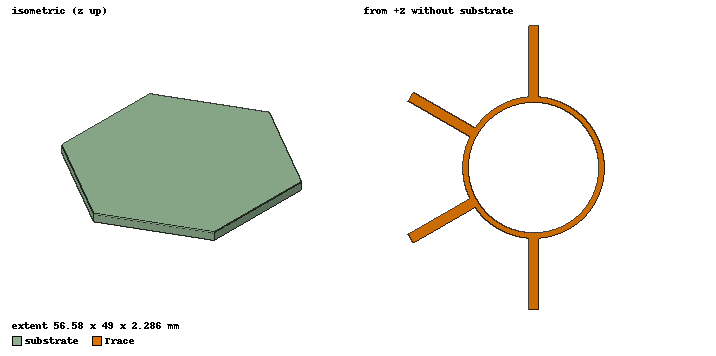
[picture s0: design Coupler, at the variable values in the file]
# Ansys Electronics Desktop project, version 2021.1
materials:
  vacuum: permittivity=1
  My_sub: permittivity=2.33 dielectric_loss_tangent=0.000429

design Coupler (HFSS, DrivenTerminal, model units mm)
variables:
  length = 24.5mm
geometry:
  substrate [My_sub] = polyhedron(axis=Z, centre=(0mm, 0mm, -1.143mm), first_corner=(length/cos(30deg), 0mm, -1.143mm), sides=6, height=2.286mm)
  Trace = rectangle(corner=(-0.89mm, 0mm, 0mm), x_size=1.78mm, y_size=length)
  Trace_1, Trace_2, Trace_3 = Trace.duplicate_around_axis(axis=Z, angle=60deg, total=4)
  Outer = circle(normal=Z, centre=(0mm, 0mm, 0mm), radius=12.22mm)
  Trace.unite(Trace_1, Trace_2, Trace_3, Outer)
  Inner = circle(normal=Z, centre=(0mm, 0mm, 0mm), radius=11.24mm)
  Trace.subtract(Inner)
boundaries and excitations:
  PerfE1: Perfect E Objects=Trace
  T1: Terminal port=P1 Edges=Trace.edge(3 of 4) TerminalResistance=50ohm
  T2: Terminal port=P2 Edges=Trace.edge(y opposite corner) TerminalResistance=50ohm
  T3: Terminal port=P3 Edges=Trace.edge(3 of 4) TerminalResistance=50ohm
  T4: Terminal port=P4 Edges=Trace.edge(3 of 4) TerminalResistance=50ohm
  P1: Wave Port Faces=substrate.face(6 of 8) NumModes=1
  P2: Wave Port Faces=substrate.face(7 of 8) NumModes=1
  P3: Wave Port Faces=substrate.face(4 of 8) NumModes=1
  P4: Wave Port Faces=substrate.face(5 of 8) NumModes=1
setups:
  Setup1: HfssDriven Frequency=4GHz MaxDeltaS=0.02 MaximumPasses=20 MinimumPasses=1 MinimumConvergedPasses=1 PercentRefinement=30 BasisOrder=1 PortAccuracy=2
    sweep Sweep: 1GHz to 7GHz, 121 points; Type=Fast SaveFields
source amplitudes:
  P1:1: 1V 0deg
  P2:1, P3:1, P4:1: 0V 0deg
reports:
  Terminal S Parameter Plot 1: dB(St(T1,T1)), dB(St(T1,T2)), dB(St(T1,T3)), dB(St(T1,T4)) vs Freq on Setup1 : Sweep; markers m1 at 4GHz
